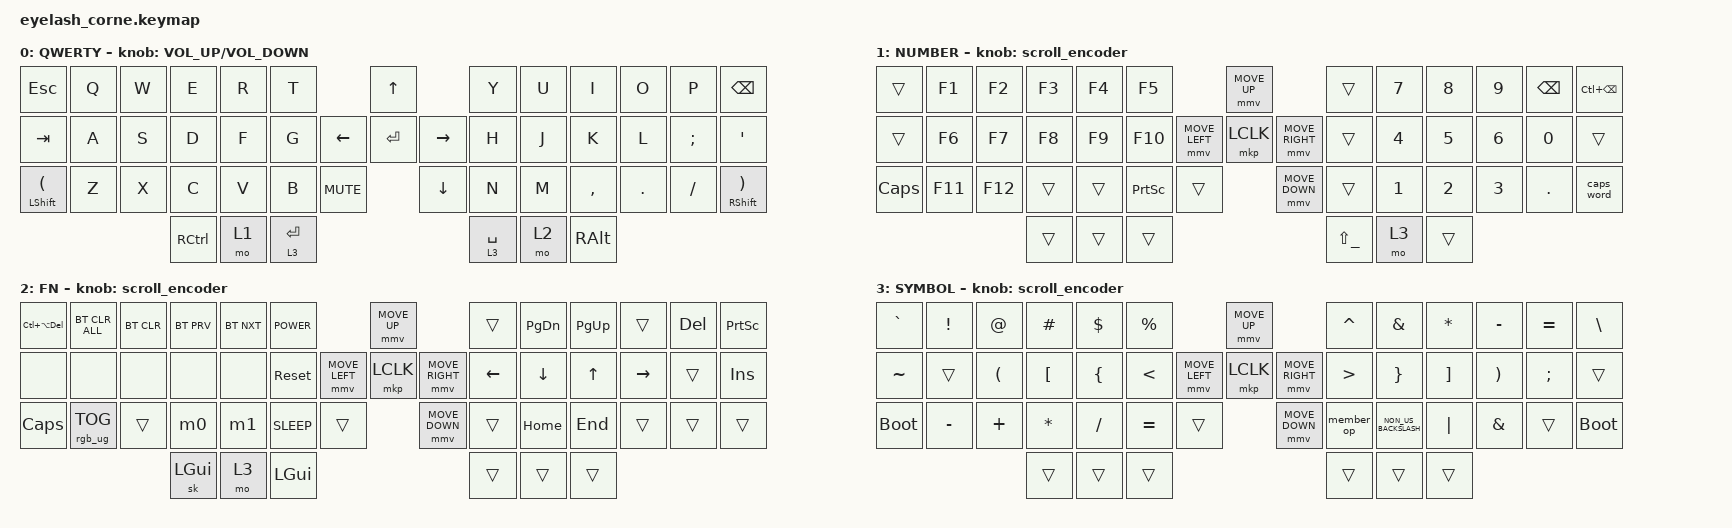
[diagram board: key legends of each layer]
#define ZMK_POINTING_DEFAULT_MOVE_VAL 1200  // 600
#define ZMK_POINTING_DEFAULT_SCRL_VAL 25   // 10

#include <input/processors.dtsi>
#include <zephyr/dt-bindings/input/input-event-codes.h>
#include <behaviors.dtsi>
#include <dt-bindings/zmk/bt.h>
#include <dt-bindings/zmk/keys.h>
#include <dt-bindings/zmk/outputs.h>
#include <dt-bindings/zmk/pointing.h>
#include <dt-bindings/zmk/rgb.h>

/ {
    behaviors {
        td0: td0 {
            compatible = "zmk,behavior-tap-dance";
            display-name = "Shift/Caps Lock Tap Dance";
            #binding-cells = <0>;
            bindings = <&kp LEFT_SHIFT>, <&kp CAPS>;
        };

        scroll_encoder: scroll_encoder {
            compatible = "zmk,behavior-sensor-rotate";
            #sensor-binding-cells = <0>;
            bindings = <&msc SCRL_DOWN>, <&msc SCRL_UP>;
            tap-ms = <30>;
        };
    };

    macros {
        m0: m0 {
            compatible = "zmk,behavior-macro";
            #binding-cells = <0>;
            bindings = <&kp K &kp N8 &kp N4 &kp N0 &kp N5 &kp N9 &kp N1>;
            label = "M0";
        };

        m1: m1 {
            compatible = "zmk,behavior-macro";
            #binding-cells = <0>;
            bindings = <&kp LS(W) &kp N5 &kp D &kp LS(I) &kp N1 &kp LS(U) &kp LS(V) &kp O>;
            label = "M1";
        };

        member_op: member_op {
            compatible = "zmk,behavior-macro";
            #binding-cells = <0>;
            bindings = <&kp MINUS &kp GT>;
            label = "MEMBER_OP";
        };
    };

    keymap {
        compatible = "zmk,keymap";

        default_layer {
            display-name = "QWERTY";
            bindings = <
&kp ESCAPE                  &kp Q  &kp W  &kp E      &kp R  &kp T                                &kp UP                &kp Y        &kp U  &kp I      &kp O    &kp P     &kp BSPC
&kp TAB                     &kp A  &kp S  &kp D      &kp F  &kp G                      &kp LEFT  &kp ENTER  &kp RIGHT  &kp H        &kp J  &kp K      &kp L    &kp SEMI  &kp SQT
&mt LSHFT LEFT_PARENTHESIS  &kp Z  &kp X  &kp C      &kp V  &kp B        &kp C_MUTE              &kp DOWN              &kp N        &kp M  &kp COMMA  &kp DOT  &kp FSLH  &mt RSHIFT RIGHT_PARENTHESIS
                                          &kp RCTRL  &mo 1  &lt 3 ENTER                                                &lt 3 SPACE  &mo 2  &kp RALT
            >;

            sensor-bindings = <&inc_dec_kp C_VOLUME_UP C_VOLUME_DOWN>;
        };

        lower_layer {
            display-name = "NUMBER";
            bindings = <
&trans    &kp F1   &kp F2   &kp F3  &kp F4  &kp F5                                     &mmv MOVE_UP                     &trans         &kp N7  &kp N8  &kp N9  &kp BACKSPACE  &kp LC(BSPC)
&trans    &kp F6   &kp F7   &kp F8  &kp F9  &kp F10                    &mmv MOVE_LEFT  &mkp LCLK       &mmv MOVE_RIGHT  &trans         &kp N4  &kp N5  &kp N6  &kp N0         &trans
&kp CAPS  &kp F11  &kp F12  &trans  &trans  &kp PRINTSCREEN  &trans                    &mmv MOVE_DOWN                   &trans         &kp N1  &kp N2  &kp N3  &kp DOT        &caps_word
                            &trans  &trans  &trans                                                                      &kp LS(UNDER)  &mo 3   &trans
            >;

            sensor-bindings = <&scroll_encoder>;
        };

        raise_layer {
            display-name = "FN";
            bindings = <
&kp LC(LA(DELETE))  &bt BT_CLR_ALL   &bt BT_CLR  &bt BT_PRV  &bt BT_NXT  &kp K_POWER                            &mmv MOVE_UP                     &trans    &kp PAGE_DOWN  &kp PAGE_UP   &trans     &kp DELETE  &kp PRINTSCREEN
&none               &none            &none       &none       &none       &sys_reset             &mmv MOVE_LEFT  &mkp LCLK       &mmv MOVE_RIGHT  &kp LEFT  &kp DOWN       &kp UP_ARROW  &kp RIGHT  &trans      &kp INS
&kp CAPSLOCK        &rgb_ug RGB_TOG  &trans      &m0         &m1         &kp K_SLEEP  &trans                    &mmv MOVE_DOWN                   &trans    &kp HOME       &kp END       &trans     &trans      &trans
                                                 &sk LGUI    &mo 3       &kp LGUI                                                                &trans    &trans         &trans
            >;

            sensor-bindings = <&scroll_encoder>;
        };

        symbol_layer {
            display-name = "SYMBOL";
            bindings = <
&kp GRAVE    &kp EXCL   &kp AT                &kp HASH          &kp DLLR        &kp PRCNT                                &mmv MOVE_UP                     &kp CARET         &kp AMPS              &kp ASTRK          &kp MINUS              &kp EQUAL  &kp BSLH
&kp TILDE    &trans     &kp LEFT_PARENTHESIS  &kp LEFT_BRACKET  &kp LEFT_BRACE  &kp LESS_THAN            &mmv MOVE_LEFT  &mkp LCLK       &mmv MOVE_RIGHT  &kp GREATER_THAN  &kp RIGHT_BRACE       &kp RIGHT_BRACKET  &kp RIGHT_PARENTHESIS  &kp SEMI   &trans
&bootloader  &kp MINUS  &kp PLUS              &kp ASTERISK      &kp SLASH       &kp EQUAL      &trans                    &mmv MOVE_DOWN                   &member_op        &kp NON_US_BACKSLASH  &kp PIPE           &kp AMPERSAND          &trans     &bootloader
                                              &trans            &trans          &trans                                                                    &trans            &trans                &trans
            >;

            sensor-bindings = <&scroll_encoder>;
        };
    };
};
